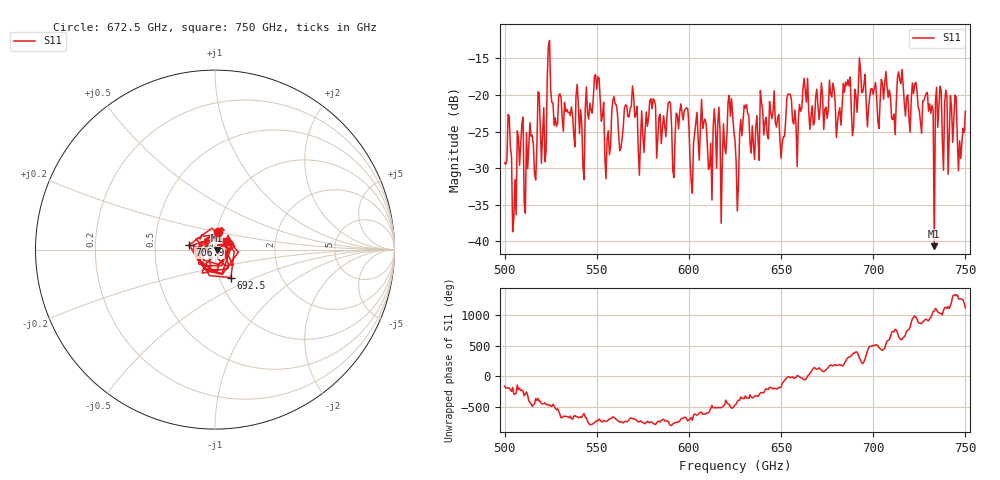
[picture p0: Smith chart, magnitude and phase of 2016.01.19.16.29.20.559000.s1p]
!Created with skrf (http://scikit-rf.org).
# GHz S RI R 50.0
!freq ReS11 ImS11
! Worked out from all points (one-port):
!   401 points, 500 GHz to 750 GHz, reference 50 ohm
!   lowest |S11| = -40.7 dB at 733.1 GHz (marker M1), VSWR 1.02, Z = 50.9 - j0.16 ohm
!   |S11| at or under -10 dB: start of sweep to end of sweep
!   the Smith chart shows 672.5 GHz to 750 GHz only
!   S11 on the Smith chart (normalised r, x): 672.5 GHz: 1.01, +0.20; 692.5 GHz: 1.13, -0.36; 706.9 GHz: 0.75, +0.04; 750 GHz: 1.12, +0.11
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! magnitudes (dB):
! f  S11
! 500 GHz  -29.3
! 502.5 GHz  -22.9
! 505 GHz  -36.9
! 508.8 GHz  -26.6
! 511.9 GHz  -25.2
! 521.2 GHz  -21.7
! 524.4 GHz  -12.5
! 531.2 GHz  -23.2
! 541.9 GHz  -23.9
! 550 GHz  -19.2
! 555.6 GHz  -26.0
! 559.4 GHz  -20.2
! 562.5 GHz  -27.6
! 568.8 GHz  -21.5
! 593.8 GHz  -22.8
! 618.8 GHz  -23.9
! 622.5 GHz  -22.9
! 625 GHz  -26.2
! 631.2 GHz  -21.3
! 634.4 GHz  -24.2
! 656.2 GHz  -23.6
! 672.5 GHz  -20.0
! 687.5 GHz  -17.5
! 692.5 GHz  -14.9
! 706.9 GHz  -16.8
! 718.8 GHz  -20.0
! 733.1 GHz  -40.7
! 750 GHz  -22.2
